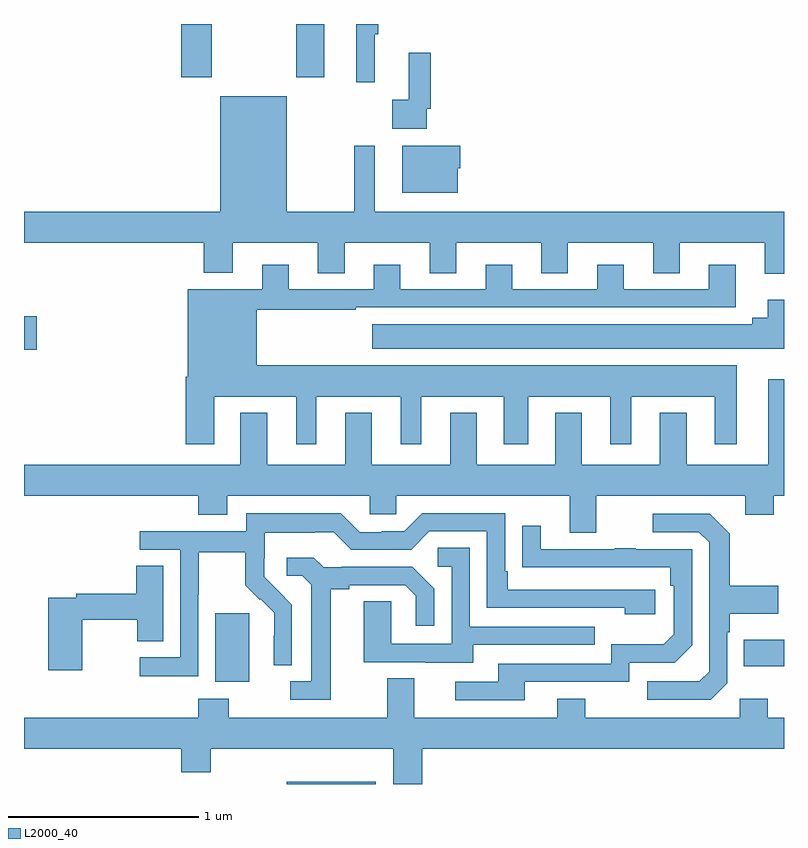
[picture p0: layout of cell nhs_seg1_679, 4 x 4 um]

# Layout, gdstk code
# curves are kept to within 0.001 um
import gdstk
lib = gdstk.Library(unit=1e-6, precision=1e-09)
def R(c, l, rs):  # rectangles x0, y0, x1, y1
    for r in rs: c.add(gdstk.rectangle(r[:2], r[2:], *l))
def P(c, l, *ps):  # polygons
    for p in ps: c.add(gdstk.Polygon(p, *l))
L2000_40 = (2000, 40)

nhs_seg1_679 = lib.new_cell('nhs_seg1_679')
R(nhs_seg1_679, L2000_40, [(148.383,566.199,148.852,566.212), (148.007,566.738,148.186,567.099), (150.787,566.819,151,566.959), (147,568.484,147.067,568.662), (147.827,569.919,147.987,570.199), (148.432,569.919,148.579,570.199)])
P(nhs_seg1_679, L2000_40, [(148.847,570.144),(148.865,570.144),(148.865,570.199),(148.748,570.199),(148.748,569.892),(148.847,569.892)],
  [(149.121,569.752),(149.141,569.752),(149.141,570.049),(149.024,570.049),(149.024,569.801),(148.938,569.801),(148.938,569.648),(149.121,569.648)],
  [(151,569.212),(148.846,569.212),(148.846,569.557),(148.737,569.557),(148.737,569.212),(148.384,569.212),(148.384,569.818),(148.034,569.818),(148.034,569.212),(147,569.212),(147,569.048),(147.947,569.048),(147.947,568.889),(148.099,568.889),(148.099,569.048),(148.547,569.048),(148.547,568.888),(148.687,568.888),(148.687,569.048),(149.135,569.048),(149.135,568.888),(149.275,568.888),(149.275,569.048),(149.723,569.048),(149.723,568.888),(149.863,568.888),(149.863,569.048),(150.311,569.048),(150.311,568.888),(150.451,568.888),(150.451,569.048),(150.899,569.048),(150.899,568.884),(151,568.884)],
  [(149.284,569.439),(149.296,569.439),(149.296,569.557),(148.991,569.557),(148.991,569.312),(149.284,569.312)],
  [(148,568.238),(148.433,568.238),(148.433,567.987),(148.537,567.987),(148.537,568.238),(148.982,568.238),(148.982,567.987),(149.092,567.987),(149.092,568.238),(149.525,568.238),(149.525,567.987),(149.653,567.987),(149.653,568.238),(150.086,568.238),(150.086,567.987),(150.196,567.987),(150.196,568.238),(150.635,568.238),(150.635,567.987),(150.751,567.987),(150.751,568.402),(148.225,568.402),(148.225,568.695),(148.745,568.695),(148.745,568.707),(150.745,568.707),(150.745,568.933),(150.605,568.933),(150.605,568.803),(150.157,568.803),(150.157,568.933),(150.017,568.933),(150.017,568.803),(149.569,568.803),(149.569,568.933),(149.429,568.933),(149.429,568.803),(148.981,568.803),(148.981,568.933),(148.841,568.933),(148.841,568.803),(148.393,568.803),(148.393,568.933),(148.253,568.933),(148.253,568.804),(147.863,568.804),(147.863,568.342),(147.851,568.342),(147.851,567.987),(148,567.987)],
  [(151,568.747),(150.914,568.747),(150.914,568.654),(150.833,568.654),(150.833,568.618),(148.833,568.618),(148.833,568.49),(151,568.49)],
  [(150.013,567.716),(150.797,567.716),(150.797,567.617),(150.945,567.617),(150.945,567.716),(151,567.716),(151,568.33),(150.917,568.33),(150.917,567.88),(150.487,567.88),(150.487,568.153),(150.347,568.153),(150.347,567.88),(149.935,567.88),(149.935,568.153),(149.795,568.153),(149.795,567.88),(149.383,567.88),(149.383,568.153),(149.243,568.153),(149.243,567.88),(148.831,567.88),(148.831,568.153),(148.691,568.153),(148.691,567.88),(148.279,567.88),(148.279,568.153),(148.139,568.153),(148.139,567.88),(147,567.88),(147,567.716),(147.917,567.716),(147.917,567.617),(148.069,567.617),(148.069,567.716),(148.821,567.716),(148.821,567.618),(148.959,567.618),(148.959,567.716),(149.873,567.716),(149.873,567.522),(150.013,567.522)],
  [(147.918,567.196),(147.921,567.196),(147.921,567.42),(148.165,567.42),(148.165,567.245),(148.242,567.168),(148.245,567.171),(148.316,567.101),(148.316,566.978),(148.314,566.978),(148.314,566.824),(148.41,566.824),(148.41,567.142),(148.264,567.29),(148.264,567.387),(148.266,567.387),(148.266,567.521),(148.529,567.521),(148.529,567.525),(148.629,567.525),(148.722,567.432),(149.037,567.432),(149.133,567.528),(149.436,567.528),(149.436,567.126),(150.161,567.126),(150.161,567.092),(150.322,567.092),(150.322,567.222),(149.545,567.222),(149.545,567.319),(149.532,567.319),(149.532,567.624),(149.097,567.624),(149.001,567.528),(148.883,567.528),(148.883,567.525),(148.767,567.525),(148.667,567.625),(148.17,567.625),(148.17,567.528),(147.609,567.528),(147.609,567.432),(147.822,567.432),(147.822,566.865),(147.609,566.865),(147.609,566.767),(147.918,566.767)],
  [(150.702,566.73),(150.702,566.999),(150.715,566.999),(150.715,567.095),(150.971,567.095),(150.971,567.243),(150.715,567.243),(150.715,567.515),(150.609,567.621),(150.309,567.621),(150.309,567.525),(150.552,567.525),(150.606,567.471),(150.606,566.79),(150.555,566.739),(150.279,566.739),(150.279,566.643),(150.615,566.643)],
  [(149.635,566.736),(150.186,566.736),(150.186,566.838),(150.426,566.838),(150.516,566.928),(150.516,567.435),(150.221,567.435),(150.221,567.44),(150.109,567.44),(150.109,567.435),(149.719,567.435),(149.719,567.559),(149.623,567.559),(149.623,567.34),(150.4,567.339),(150.4,567.242),(150.42,567.242),(150.42,566.988),(150.367,566.935),(150.09,566.935),(150.09,566.832),(149.495,566.832),(149.495,566.736),(149.271,566.736),(149.271,566.64),(149.635,566.64)],
  [(149.365,566.931),(150.005,566.931),(150.005,567.027),(149.346,567.027),(149.346,567.443),(149.178,567.443),(149.178,567.342),(149.25,567.342),(149.25,566.937),(148.932,566.937),(148.932,567.161),(148.787,567.161),(148.787,566.841),(149.111,566.841),(149.111,566.837),(149.365,566.837)],
  [(148.615,567.224),(148.711,567.224),(148.711,567.246),(149.006,567.246),(149.063,567.189),(149.063,567.033),(149.16,567.033),(149.16,567.226),(149.044,567.342),(148.672,567.342),(148.672,567.339),(148.578,567.339),(148.526,567.391),(148.383,567.391),(148.383,567.294),(148.464,567.294),(148.511,567.247),(148.511,566.739),(148.401,566.739),(148.401,566.643),(148.615,566.643)],
  [(147.306,567.064),(147.595,567.064),(147.595,566.95),(147.733,566.95),(147.733,567.347),(147.59,567.347),(147.59,567.2),(147.274,567.2),(147.274,567.18),(147.128,567.18),(147.128,566.799),(147.306,566.799)],
  [(149.096,566.384),(151,566.384),(151,566.548),(150.915,566.548),(150.915,566.647),(150.768,566.647),(150.768,566.548),(149.955,566.548),(149.955,566.647),(149.807,566.647),(149.807,566.548),(149.053,566.548),(149.053,566.756),(148.913,566.756),(148.913,566.548),(148.077,566.548),(148.077,566.647),(147.917,566.647),(147.917,566.548),(147,566.548),(147,566.384),(147.827,566.384),(147.827,566.26),(147.983,566.26),(147.983,566.384),(148.943,566.384),(148.943,566.199),(149.096,566.199)])

lib.write_gds('nhs_seg1_679.gds')
